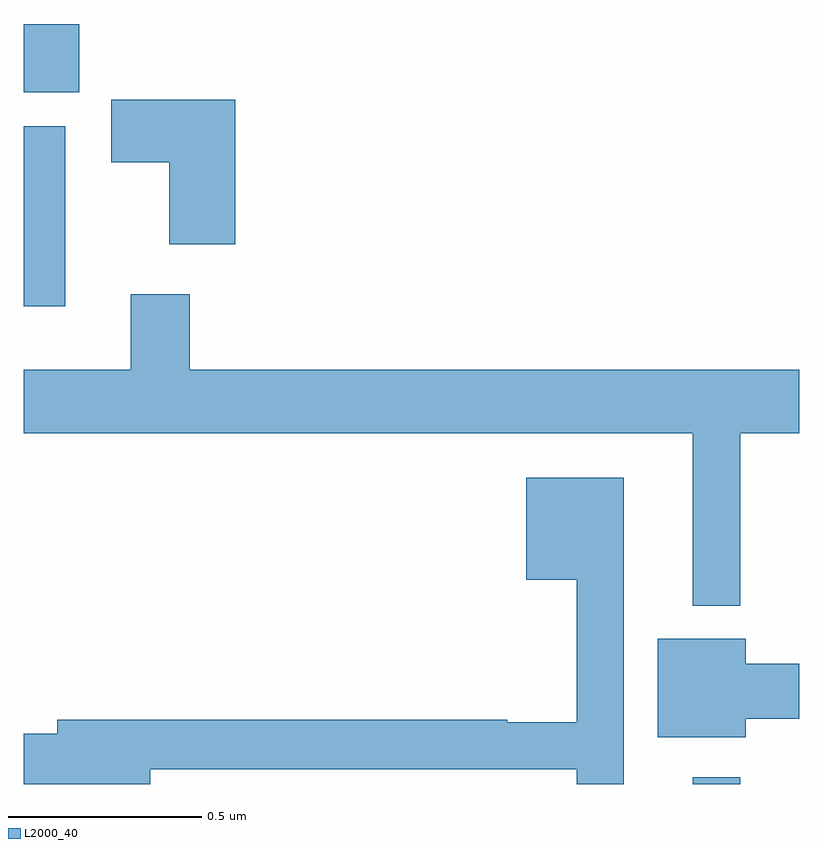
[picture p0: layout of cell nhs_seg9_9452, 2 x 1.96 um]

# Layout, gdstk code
import gdstk
lib = gdstk.Library(unit=1e-6, precision=1e-09)
def R(c, l, rs):  # rectangles x0, y0, x1, y1
    for r in rs: c.add(gdstk.rectangle(r[:2], r[2:], *l))
def P(c, l, *ps):  # polygons
    for p in ps: c.add(gdstk.Polygon(p, *l))
L2000_40 = (2000, 40)

nhs_seg9_9452 = lib.new_cell('nhs_seg9_9452')
R(nhs_seg9_9452, L2000_40, [(231.725,1211.5,231.847,1211.518), (230,1212.732,230.107,1213.195), (230,1213.283,230.143,1213.459)])
P(nhs_seg9_9452, L2000_40, [(230.546,1213.264),(230.226,1213.264),(230.226,1213.102),(230.375,1213.102),(230.375,1212.891),(230.546,1212.891)],
  [(231.847,1212.404),(232,1212.404),(232,1212.568),(230.429,1212.568),(230.429,1212.763),(230.276,1212.763),(230.276,1212.568),(230,1212.568),(230,1212.404),(231.725,1212.404),(231.725,1211.96),(231.847,1211.96)],
  [(230.326,1211.538),(231.426,1211.538),(231.426,1211.5),(231.547,1211.5),(231.547,1212.289),(231.296,1212.289),(231.296,1212.026),(231.426,1212.026),(231.426,1211.659),(231.247,1211.659),(231.247,1211.666),(230.087,1211.666),(230.087,1211.63),(230,1211.63),(230,1211.5),(230.326,1211.5)],
  [(231.862,1211.668),(232,1211.668),(232,1211.81),(231.862,1211.81),(231.862,1211.875),(231.635,1211.875),(231.635,1211.621),(231.862,1211.621)])

lib.write_gds('nhs_seg9_9452.gds')
